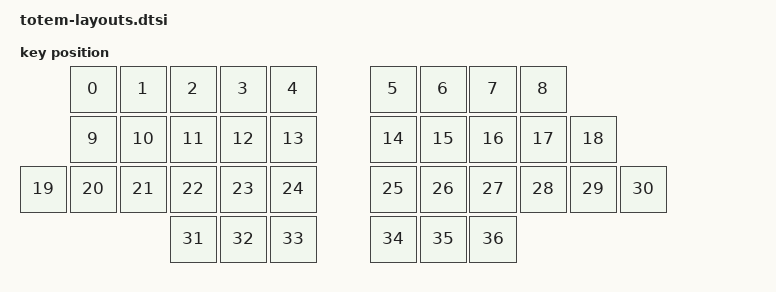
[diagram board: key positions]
/*
 * Copyright (c) 2022 The ZMK Contributors
 *
 * SPDX-License-Identifier: MIT
 */

// #include <physical_layouts.dtsi>
#include <dt-bindings/zmk/physical_layouts.h>

/ {
    totem_physical_layout: totem_physical_layout {
        compatible = "zmk,physical-layout";
        display-name = "TOTEM";

        transform = <&default_transform>;
        kscan = <&kscan0>;

        /*
         * Key order MUST match the matrix transform.
         *
         * Matrix transform:
         *
         *  01 02 03 04 05 | 05 04 03 02 01
         *  06 07 08 09 10 | 10 09 08 07 06
         * 16 11 12 13 14 15 | 15 14 13 12 11 16
         *       17 18 19 | 19 18 17
         *
         * Coordinates are in centi-keyunits.
         */

        keys =
            /* Row 0 */
              <&key_physical_attrs 100 100    0    0 0 0 0>
            , <&key_physical_attrs 100 100  100    0 0 0 0>
            , <&key_physical_attrs 100 100  200    0 0 0 0>
            , <&key_physical_attrs 100 100  300    0 0 0 0>
            , <&key_physical_attrs 100 100  400    0 0 0 0>

            , <&key_physical_attrs 100 100  600    0 0 0 0>
            , <&key_physical_attrs 100 100  700    0 0 0 0>
            , <&key_physical_attrs 100 100  800    0 0 0 0>
            , <&key_physical_attrs 100 100  900    0 0 0 0>
            , <&key_physical_attrs 100 100 1000    0 0 0>

            /* Row 1 */
            , <&key_physical_attrs 100 100    0  100 0 0 0>
            , <&key_physical_attrs 100 100  100  100 0 0 0>
            , <&key_physical_attrs 100 100  200  100 0 0 0>
            , <&key_physical_attrs 100 100  300  100 0 0 0>
            , <&key_physical_attrs 100 100  400  100 0 0 0>

            , <&key_physical_attrs 100 100  600  100 0 0 0>
            , <&key_physical_attrs 100 100  700  100 0 0 0>
            , <&key_physical_attrs 100 100  800  100 0 0 0>
            , <&key_physical_attrs 100 100  900  100 0 0 0>
            , <&key_physical_attrs 100 100 1000  100 0 0 0>

            /* Row 2 */
            , <&key_physical_attrs 100 100 (-100)  200 0 0 0>
            , <&key_physical_attrs 100 100    0   200 0 0 0>
            , <&key_physical_attrs 100 100  100   200 0 0 0>
            , <&key_physical_attrs 100 100  200   200 0 0 0>
            , <&key_physical_attrs 100 100  300   200 0 0 0>
            , <&key_physical_attrs 100 100  400   200 0 0 0>

            , <&key_physical_attrs 100 100  600   200 0 0 0>
            , <&key_physical_attrs 100 100  700   200 0 0 0>
            , <&key_physical_attrs 100 100  800   200 0 0 0>
            , <&key_physical_attrs 100 100  900   200 0 0 0>
            , <&key_physical_attrs 100 100 1000   200 0 0 0>
            , <&key_physical_attrs 100 100 1100   200 0 0 0>

            /* Row 3 */
            , <&key_physical_attrs 100 100  200  300 0 0 0>
            , <&key_physical_attrs 100 100  300  300 0 0 0>
            , <&key_physical_attrs 100 100  400  300 0 0 0>

            , <&key_physical_attrs 100 100  600  300 0 0 0>
            , <&key_physical_attrs 100 100  700  300 0 0 0>
            , <&key_physical_attrs 100 100  800  300 0 0 0>
            ;
    };
};
